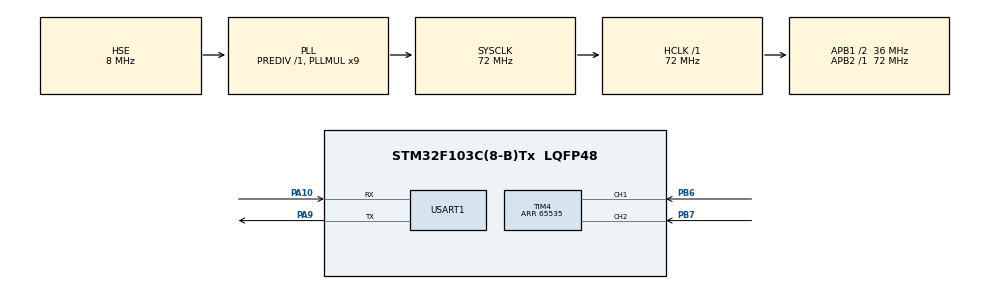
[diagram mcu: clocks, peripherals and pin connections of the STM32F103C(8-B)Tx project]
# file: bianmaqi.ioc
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Mcu.Family=STM32F1
Mcu.Name=STM32F103C(8-B)Tx
Mcu.Package=LQFP48
NVIC.PriorityGroup=NVIC_PRIORITYGROUP_4
NVIC.TIM4_IRQn=true\:0\:0\:false\:false\:true\:true\:true
NVIC.USART1_IRQn=true\:0\:0\:false\:false\:true\:true\:true
PA10.Mode=Asynchronous
PA10.Signal=USART1_RX
PA13.Mode=Serial_Wire
PA13.Signal=SYS_JTMS-SWDIO
PA14.Mode=Serial_Wire
PA14.Signal=SYS_JTCK-SWCLK
PA9.Mode=Asynchronous
PA9.Signal=USART1_TX
PB6.Signal=S_TIM4_CH1
PB7.Signal=S_TIM4_CH2
PD0-OSC_IN.Mode=HSE-External-Oscillator
PD0-OSC_IN.Signal=RCC_OSC_IN
PD1-OSC_OUT.Mode=HSE-External-Oscillator
PD1-OSC_OUT.Signal=RCC_OSC_OUT
ProjectManager.HeapSize=0x200
ProjectManager.StackSize=0x400
ProjectManager.TargetToolchain=MDK-ARM V5
RCC.AHBFreq_Value=72000000
RCC.APB1CLKDivider=RCC_HCLK_DIV2
RCC.APB1Freq_Value=36000000
RCC.APB1TimFreq_Value=72000000
RCC.APB2Freq_Value=72000000
RCC.APB2TimFreq_Value=72000000
RCC.HCLKFreq_Value=72000000
RCC.PLLMUL=RCC_PLL_MUL9
RCC.PLLSourceVirtual=RCC_PLLSOURCE_HSE
RCC.SYSCLKFreq_VALUE=72000000
RCC.SYSCLKSource=RCC_SYSCLKSOURCE_PLLCLK
RCC.USBFreq_Value=72000000
SH.S_TIM4_CH1.0=TIM4_CH1,Encoder_Interface
SH.S_TIM4_CH2.0=TIM4_CH2,Encoder_Interface
TIM4.EncoderMode=TIM_ENCODERMODE_TI1
TIM4.Period=65535
USART1.VirtualMode=VM_ASYNC
board=custom

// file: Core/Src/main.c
/* USER CODE BEGIN Header */
/**
  ******************************************************************************
  * @file           : main.c
  * @brief          : Main program body
  ******************************************************************************
  * @attention
  *
  * <h2><center>&copy; Copyright (c) 2020 STMicroelectronics.
  * All rights reserved.</center></h2>
  *
  * This software component is licensed by ST under BSD 3-Clause license,
  * the "License"; You may not use this file except in compliance with the
  * License. You may obtain a copy of the License at:
  *                        opensource.org/licenses/BSD-3-Clause
  *
  ******************************************************************************
  */
/* USER CODE END Header */
#include "main.h"
#include "tim.h"
#include "usart.h"
#include "gpio.h"

/* USER CODE BEGIN Includes */
#include "stdio.h"
#include "string.h"
#include "bsp_Encoder.h"
/* USER CODE END Includes */

/* USER CODE BEGIN PTD */
	float Direction;
	float CaptureNumber;
	 float Angle;
/* USER CODE END PTD */

void SystemClock_Config(void);

int main(void)
{

  /* MCU Configuration--------------------------------------------------------*/

  /* Reset of all peripherals, Initializes the Flash interface and the Systick. */
  HAL_Init();

  /* Configure the system clock */
  SystemClock_Config();

  /* Initialize all configured peripherals */
  MX_GPIO_Init();
  MX_TIM4_Init();
  MX_USART1_UART_Init();
  /* USER CODE BEGIN 2 */
	bsp_Encoder_Init();
  /* USER CODE END 2 */

  /* Infinite loop */
  while (1)
  {

    /* USER CODE BEGIN 3 */
		Direction = __HAL_TIM_IS_TIM_COUNTING_DOWN(&htim4);
		CaptureNumber=__HAL_TIM_GET_COUNTER(&htim4);
		Angle=CaptureNumber;

//		printf("方向为：%f\r\n",Direction);
		//Encoder2.CaptureNumber = __HAL_TIM_GET_COUNTER(&htim4);;
		printf("A=%d\r\n",Encoder2.Encoder_date);
		bsp_Encoder_Update();;
		HAL_Delay(10);
  }
  /* USER CODE END 3 */
}

void SystemClock_Config(void)
{
  RCC_OscInitTypeDef RCC_OscInitStruct = {0};
  RCC_ClkInitTypeDef RCC_ClkInitStruct = {0};

  /** Initializes the RCC Oscillators according to the specified parameters
  * in the RCC_OscInitTypeDef structure.
  */
  RCC_OscInitStruct.OscillatorType = RCC_OSCILLATORTYPE_HSE;
  RCC_OscInitStruct.HSEState = RCC_HSE_ON;
  RCC_OscInitStruct.HSEPredivValue = RCC_HSE_PREDIV_DIV1;
  RCC_OscInitStruct.HSIState = RCC_HSI_ON;
  RCC_OscInitStruct.PLL.PLLState = RCC_PLL_ON;
  RCC_OscInitStruct.PLL.PLLSource = RCC_PLLSOURCE_HSE;
  RCC_OscInitStruct.PLL.PLLMUL = RCC_PLL_MUL9;
  if (HAL_RCC_OscConfig(&RCC_OscInitStruct) != HAL_OK)
  {
    Error_Handler();
  }
  /** Initializes the CPU, AHB and APB buses clocks
  */
  RCC_ClkInitStruct.ClockType = RCC_CLOCKTYPE_HCLK|RCC_CLOCKTYPE_SYSCLK
                              |RCC_CLOCKTYPE_PCLK1|RCC_CLOCKTYPE_PCLK2;
  RCC_ClkInitStruct.SYSCLKSource = RCC_SYSCLKSOURCE_PLLCLK;
  RCC_ClkInitStruct.AHBCLKDivider = RCC_SYSCLK_DIV1;
  RCC_ClkInitStruct.APB1CLKDivider = RCC_HCLK_DIV2;
  RCC_ClkInitStruct.APB2CLKDivider = RCC_HCLK_DIV1;

  if (HAL_RCC_ClockConfig(&RCC_ClkInitStruct, FLASH_LATENCY_2) != HAL_OK)
  {
    Error_Handler();
  }
}

/* USER CODE BEGIN 4 */
int fputc(int ch, FILE *f)
{
  HAL_UART_Transmit(&huart1, (uint8_t *)&ch, 1, 0xffff);
  return ch;
}
int fgetc(FILE *f)
{
  uint8_t ch = 0;
  HAL_UART_Receive(&huart1, &ch, 1, 0xffff);
  return ch;
}

/* USER CODE END 4 */

void Error_Handler(void)
{
}

/************************ (C) COPYRIGHT STMicroelectronics *****END OF FILE****/
